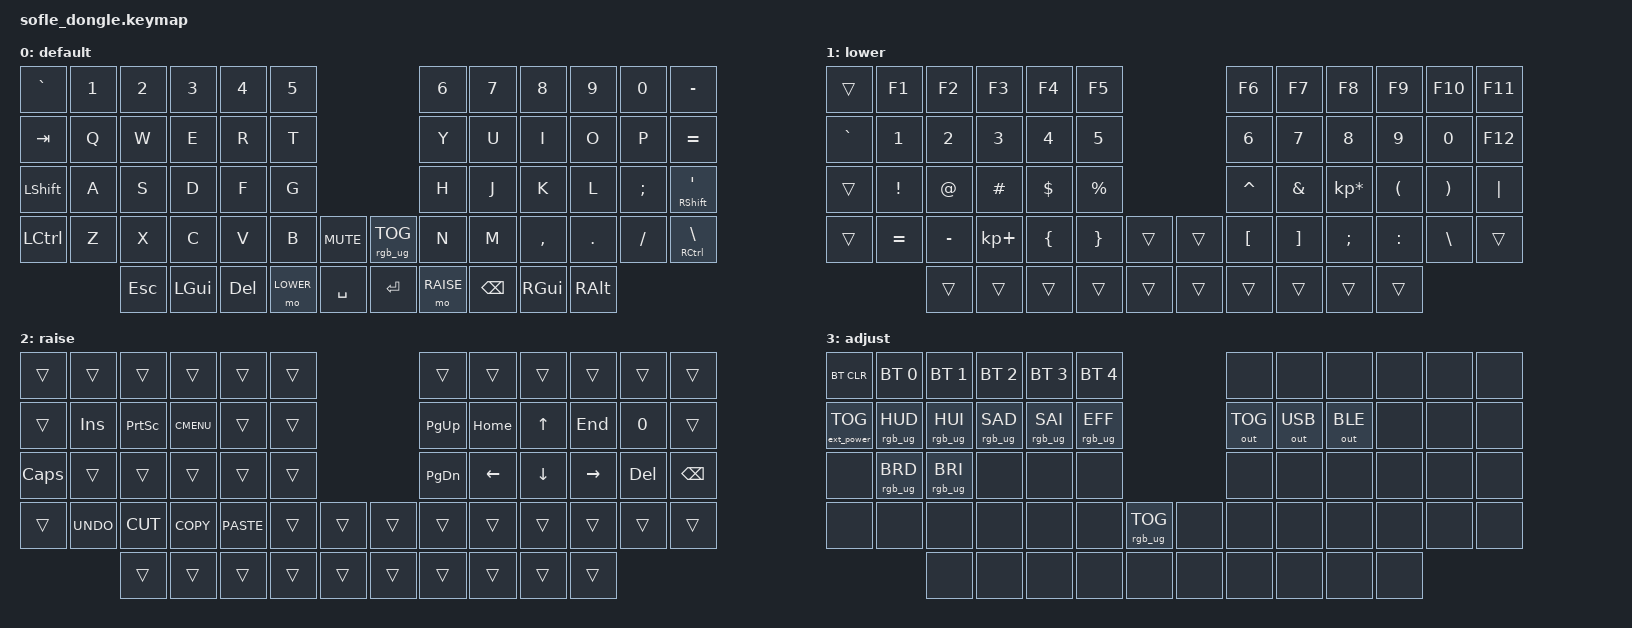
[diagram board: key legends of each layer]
/*
 * Copyright (c) 2020 The ZMK Contributors
 *
 * SPDX-License-Identifier: MIT
 */

#include <behaviors.dtsi>
#include <dt-bindings/zmk/keys.h>
#include <dt-bindings/zmk/bt.h>
#include <dt-bindings/zmk/ext_power.h>
#include <dt-bindings/zmk/outputs.h>
#include <dt-bindings/zmk/rgb.h>

#define BASE 0
#define LOWER 1
#define RAISE 2
#define ADJUST 3

&mt {
    tapping-term-ms = <600>;
    quick-tap-ms = <(-1)>;
    require-prior-idle-ms = <(-1)>;
};

/ {
    // Activate ADJUST layer by pressing raise and lower
    conditional_layers {
        compatible = "zmk,conditional-layers";

        adjust_layer {
            if-layers = <LOWER RAISE>;
            then-layer = <ADJUST>;
        };
    };

    keymap {
        compatible = "zmk,keymap";

        default_layer {
            label = "default";
            // The dongle receives input from both keyboard halves
            // Layout matches the original Sofle configuration
            bindings = <
&kp GRAVE       &kp N1  &kp N2      &kp N3        &kp N4      &kp N5                                    &kp N6     &kp N7         &kp N8     &kp N9         &kp N0    &kp MINUS
&kp TAB         &kp Q   &kp W       &kp E         &kp R       &kp T                                     &kp Y      &kp U          &kp I      &kp O          &kp P     &kp EQUAL
&kp LEFT_SHIFT  &kp A   &kp S       &kp D         &kp F       &kp G                                     &kp H      &kp J          &kp K      &kp L          &kp SEMI  &mt RIGHT_SHIFT SQT
&kp LCTRL       &kp Z   &kp X       &kp C         &kp V       &kp B      &kp C_MUTE    &rgb_ug RGB_TOG  &kp N      &kp M          &kp COMMA  &kp DOT        &kp FSLH  &mt RCTRL BACKSLASH
                        &kp ESCAPE  &kp LEFT_GUI  &kp DELETE  &mo LOWER  &kp SPACE     &kp ENTER        &mo RAISE  &kp BACKSPACE  &kp RGUI   &kp RIGHT_ALT
            >;
        };

        lower_layer {
            label = "lower";
            bindings = <
&trans     &kp F1     &kp F2     &kp F3       &kp F4    &kp F5                       &kp F6     &kp F7    &kp F8           &kp F9     &kp F10   &kp F11
&kp GRAVE  &kp N1     &kp N2     &kp N3       &kp N4    &kp N5                       &kp N6     &kp N7    &kp N8           &kp N9     &kp N0    &kp F12
&trans     &kp EXCL   &kp AT     &kp HASH     &kp DLLR  &kp PRCNT                    &kp CARET  &kp AMPS  &kp KP_MULTIPLY  &kp LPAR   &kp RPAR  &kp PIPE
&trans     &kp EQUAL  &kp MINUS  &kp KP_PLUS  &kp LBRC  &kp RBRC   &trans    &trans  &kp LBKT   &kp RBKT  &kp SEMI         &kp COLON  &kp BSLH  &trans
                      &trans     &trans       &trans    &trans     &trans    &trans  &trans     &trans    &trans           &trans
            >;
        };

        raise_layer {
            label = "raise";
            bindings = <
&trans        &trans      &trans     &trans       &trans       &trans                    &trans     &trans    &trans    &trans     &trans   &trans
&trans        &kp INS     &kp PSCRN  &kp K_CMENU  &trans       &trans                    &kp PG_UP  &kp HOME  &kp UP    &kp END    &kp N0   &trans
&kp CAPSLOCK  &trans      &trans     &trans       &trans       &trans                    &kp PG_DN  &kp LEFT  &kp DOWN  &kp RIGHT  &kp DEL  &kp BSPC
&trans        &kp K_UNDO  &kp K_CUT  &kp K_COPY   &kp K_PASTE  &trans  &trans    &trans  &trans     &trans    &trans    &trans     &trans   &trans
                          &trans     &trans       &trans       &trans  &trans    &trans  &trans     &trans    &trans    &trans
            >;
        };

        adjust_layer {
            label = "adjust";
            bindings = <
&bt BT_CLR         &bt BT_SEL 0     &bt BT_SEL 1     &bt BT_SEL 2     &bt BT_SEL 3     &bt BT_SEL 4                               &none         &none         &none         &none  &none  &none
&ext_power EP_TOG  &rgb_ug RGB_HUD  &rgb_ug RGB_HUI  &rgb_ug RGB_SAD  &rgb_ug RGB_SAI  &rgb_ug RGB_EFF                            &out OUT_TOG  &out OUT_USB  &out OUT_BLE  &none  &none  &none
&none              &rgb_ug RGB_BRD  &rgb_ug RGB_BRI  &none            &none            &none                                      &none         &none         &none         &none  &none  &none
&none              &none            &none            &none            &none            &none            &rgb_ug RGB_TOG    &none  &none         &none         &none         &none  &none  &none
                                    &none            &none            &none            &none            &none              &none  &none         &none         &none         &none
            >;
        };
    };
};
